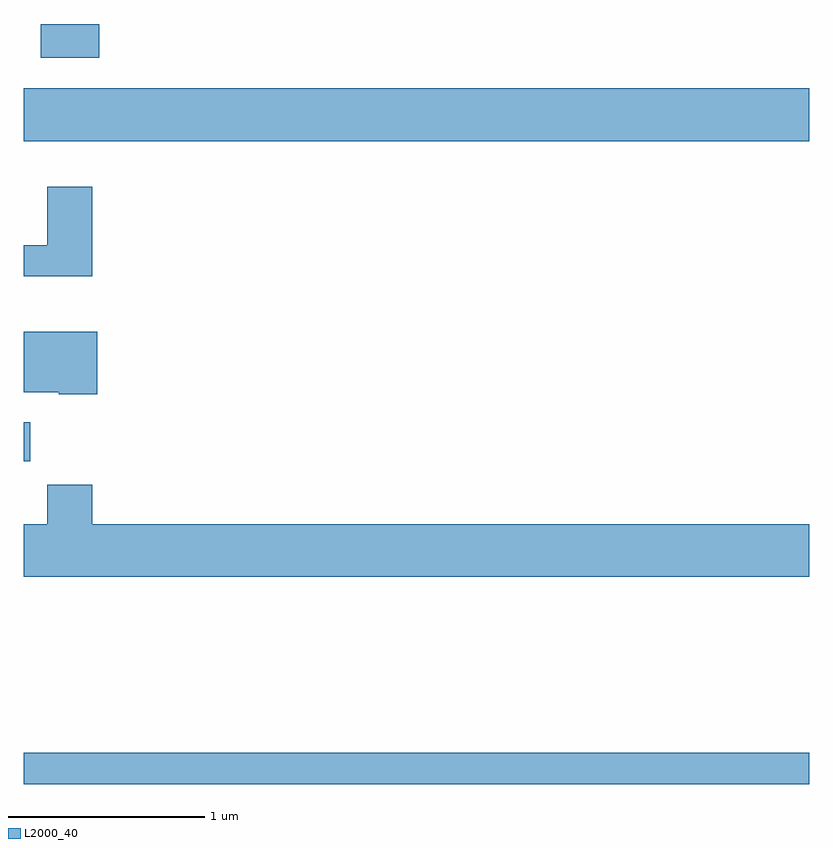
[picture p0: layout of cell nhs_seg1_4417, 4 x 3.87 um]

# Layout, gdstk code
import gdstk
lib = gdstk.Library(unit=1e-6, precision=1e-09)
def R(c, l, rs):  # rectangles x0, y0, x1, y1
    for r in rs: c.add(gdstk.rectangle(r[:2], r[2:], *l))
def P(c, l, *ps):  # polygons
    for p in ps: c.add(gdstk.Polygon(p, *l))
L2000_40 = (2000, 40)

nhs_seg1_4417 = lib.new_cell('nhs_seg1_4417')
R(nhs_seg1_4417, L2000_40, [(317.611,911.841,321.611,911.999), (317.611,913.486,317.644,913.684), (317.611,915.116,321.611,915.384), (317.696,915.541,317.994,915.712)])
P(nhs_seg1_4417, L2000_40, [(317.959,914.884),(317.731,914.884),(317.731,914.584),(317.611,914.584),(317.611,914.426),(317.959,914.426)],
  [(317.984,914.144),(317.611,914.144),(317.611,913.836),(317.79,913.836),(317.79,913.826),(317.984,913.826)],
  [(321.611,913.164),(317.959,913.164),(317.959,913.364),(317.731,913.364),(317.731,913.164),(317.611,913.164),(317.611,912.896),(321.611,912.896)])

lib.write_gds('nhs_seg1_4417.gds')
